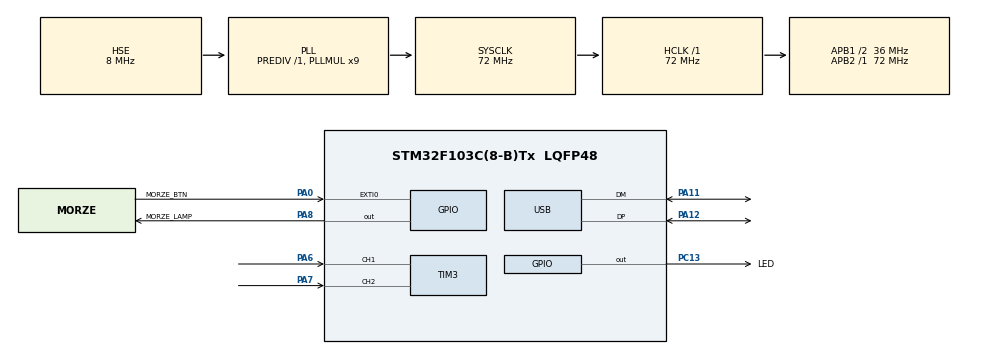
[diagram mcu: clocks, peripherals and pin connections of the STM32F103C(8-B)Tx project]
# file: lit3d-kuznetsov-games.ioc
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Mcu.Family=STM32F1
Mcu.Name=STM32F103C(8-B)Tx
Mcu.Package=LQFP48
NVIC.EXTI0_IRQn=true\:0\:0\:false\:false\:true\:true\:true\:true
NVIC.PriorityGroup=NVIC_PRIORITYGROUP_4
NVIC.TIM2_IRQn=true\:0\:0\:false\:false\:true\:true\:true\:true
NVIC.TIM3_IRQn=true\:0\:0\:false\:false\:true\:true\:true\:true
NVIC.USB_LP_CAN1_RX0_IRQn=true\:0\:0\:false\:false\:true\:false\:true\:true
PA0-WKUP.GPIO_Label=MORZE_BTN
PA0-WKUP.GPIO_ModeDefaultEXTI=GPIO_MODE_IT_RISING_FALLING
PA0-WKUP.GPIO_PuPd=GPIO_PULLUP
PA0-WKUP.Signal=GPXTI0
PA11.Mode=Device
PA11.Signal=USB_DM
PA12.Mode=Device
PA12.Signal=USB_DP
PA13.Mode=Serial_Wire
PA13.Signal=SYS_JTMS-SWDIO
PA14.Mode=Serial_Wire
PA14.Signal=SYS_JTCK-SWCLK
PA6.GPIO_PuPd=GPIO_PULLUP
PA6.Signal=S_TIM3_CH1
PA7.GPIO_PuPd=GPIO_PULLUP
PA7.Signal=S_TIM3_CH2
PA8.GPIO_Label=MORZE_LAMP
PA8.GPIO_ModeDefaultOutputPP=GPIO_MODE_OUTPUT_PP
PA8.GPIO_PuPd=GPIO_PULLDOWN
PA8.GPIO_Speed=GPIO_SPEED_FREQ_MEDIUM
PA8.PinState=GPIO_PIN_RESET
PA8.Signal=GPIO_Output
PC13-TAMPER-RTC.GPIO_Label=LED
PC13-TAMPER-RTC.GPIO_ModeDefaultOutputPP=GPIO_MODE_OUTPUT_PP
PC13-TAMPER-RTC.GPIO_PuPd=GPIO_PULLUP
PC13-TAMPER-RTC.GPIO_Speed=GPIO_SPEED_FREQ_MEDIUM
PC13-TAMPER-RTC.PinState=GPIO_PIN_SET
PC13-TAMPER-RTC.Signal=GPIO_Output
PC14-OSC32_IN.Mode=LSE-External-Oscillator
PC14-OSC32_IN.Signal=RCC_OSC32_IN
PC15-OSC32_OUT.Mode=LSE-External-Oscillator
PC15-OSC32_OUT.Signal=RCC_OSC32_OUT
PD0-OSC_IN.Mode=HSE-External-Oscillator
PD0-OSC_IN.Signal=RCC_OSC_IN
PD1-OSC_OUT.Mode=HSE-External-Oscillator
PD1-OSC_OUT.Signal=RCC_OSC_OUT
ProjectManager.HeapSize=0x200
ProjectManager.StackSize=0x400
ProjectManager.TargetToolchain=Makefile
RCC.AHBFreq_Value=72000000
RCC.APB1CLKDivider=RCC_HCLK_DIV2
RCC.APB1Freq_Value=36000000
RCC.APB1TimFreq_Value=72000000
RCC.APB2Freq_Value=72000000
RCC.APB2TimFreq_Value=72000000
RCC.HCLKFreq_Value=72000000
RCC.PLLMUL=RCC_PLL_MUL9
RCC.SYSCLKFreq_VALUE=72000000
RCC.SYSCLKSource=RCC_SYSCLKSOURCE_PLLCLK
RCC.USBFreq_Value=48000000
RCC.USBPrescaler=RCC_USBCLKSOURCE_PLL_DIV1_5
SH.S_TIM3_CH1.0=TIM3_CH1,Encoder_Interface
SH.S_TIM3_CH2.0=TIM3_CH2,Encoder_Interface
TIM2.Period=20
TIM2.Prescaler=47999
TIM2.TIM_MasterOutputTrigger=TIM_TRGO_RESET
TIM3.EncoderMode=TIM_ENCODERMODE_TI12
TIM3.IC1Polarity=TIM_ICPOLARITY_FALLING
TIM3.IC2Polarity=TIM_ICPOLARITY_FALLING
USB_DEVICE.CLASS_NAME_FS=CUSTOM_HID
USB_DEVICE.MANUFACTURER_STRING=Lit3D
USB_DEVICE.PRODUCT_STRING_CUSTOMHID_FS=Kuznetsov-Games
USB_DEVICE.USBD_CUSTOM_HID_REPORT_DESC_SIZE=18
USB_DEVICE.VirtualMode=CustomHid
USB_DEVICE.VirtualModeFS=Custom_Hid_FS
VP_TIM2_VS_ClockSourceINT.Mode=Internal
VP_USB_DEVICE_VS_USB_DEVICE_CUSTOM_HID_FS.Mode=CUSTOM_HID_FS
board=custom

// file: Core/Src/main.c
/* USER CODE BEGIN Header */
/**
  ******************************************************************************
  * @file           : main.c
  * @brief          : Main program body
  ******************************************************************************
  * @attention
  *
  * Copyright (c) 2023 STMicroelectronics.
  * All rights reserved.
  *
  * This software is licensed under terms that can be found in the LICENSE file
  * in the root directory of this software component.
  * If no LICENSE file comes with this software, it is provided AS-IS.
  *
  ******************************************************************************
  */
/* USER CODE END Header */
#include "main.h"
#include "usb_device.h"

/* USER CODE BEGIN Includes */
#include "usbd_customhid.h"
#include <stdint.h>
/* USER CODE END Includes */

TIM_HandleTypeDef htim2;
TIM_HandleTypeDef htim3;

/* USER CODE BEGIN PV */
extern USBD_HandleTypeDef hUsbDeviceFS;
uint8_t dataToSend[6];

uint8_t morzeBtn_state = 0;

uint16_t encoder_cnt = 0;
int32_t encoder_prev = 0;
/* USER CODE END PV */

void SystemClock_Config(void);
static void MX_GPIO_Init(void);
static void MX_TIM3_Init(void);
static void MX_TIM2_Init(void);

int main(void)
{

  /* MCU Configuration--------------------------------------------------------*/

  /* Reset of all peripherals, Initializes the Flash interface and the Systick. */
  HAL_Init();

  /* Configure the system clock */
  SystemClock_Config();

  /* Initialize all configured peripherals */
  MX_GPIO_Init();
  MX_TIM3_Init();
  MX_USB_DEVICE_Init();
  MX_TIM2_Init();
  /* USER CODE BEGIN 2 */
  HAL_TIM_Base_Start_IT(&htim2);
  HAL_TIM_Encoder_Start_IT(&htim3, TIM_CHANNEL_ALL);
  /* USER CODE END 2 */

  /* Infinite loop */
  while (1)
  {

  }
}

void SystemClock_Config(void)
{
  RCC_OscInitTypeDef RCC_OscInitStruct = {0};
  RCC_ClkInitTypeDef RCC_ClkInitStruct = {0};
  RCC_PeriphCLKInitTypeDef PeriphClkInit = {0};

  /** Initializes the RCC Oscillators according to the specified parameters
  * in the RCC_OscInitTypeDef structure.
  */
  RCC_OscInitStruct.OscillatorType = RCC_OSCILLATORTYPE_HSE;
  RCC_OscInitStruct.HSEState = RCC_HSE_ON;
  RCC_OscInitStruct.HSEPredivValue = RCC_HSE_PREDIV_DIV1;
  RCC_OscInitStruct.HSIState = RCC_HSI_ON;
  RCC_OscInitStruct.PLL.PLLState = RCC_PLL_ON;
  RCC_OscInitStruct.PLL.PLLSource = RCC_PLLSOURCE_HSE;
  RCC_OscInitStruct.PLL.PLLMUL = RCC_PLL_MUL9;
  if (HAL_RCC_OscConfig(&RCC_OscInitStruct) != HAL_OK)
  {
    Error_Handler();
  }

  /** Initializes the CPU, AHB and APB buses clocks
  */
  RCC_ClkInitStruct.ClockType = RCC_CLOCKTYPE_HCLK|RCC_CLOCKTYPE_SYSCLK
                              |RCC_CLOCKTYPE_PCLK1|RCC_CLOCKTYPE_PCLK2;
  RCC_ClkInitStruct.SYSCLKSource = RCC_SYSCLKSOURCE_PLLCLK;
  RCC_ClkInitStruct.AHBCLKDivider = RCC_SYSCLK_DIV1;
  RCC_ClkInitStruct.APB1CLKDivider = RCC_HCLK_DIV2;
  RCC_ClkInitStruct.APB2CLKDivider = RCC_HCLK_DIV1;

  if (HAL_RCC_ClockConfig(&RCC_ClkInitStruct, FLASH_LATENCY_2) != HAL_OK)
  {
    Error_Handler();
  }
  PeriphClkInit.PeriphClockSelection = RCC_PERIPHCLK_USB;
  PeriphClkInit.UsbClockSelection = RCC_USBCLKSOURCE_PLL_DIV1_5;
  if (HAL_RCCEx_PeriphCLKConfig(&PeriphClkInit) != HAL_OK)
  {
    Error_Handler();
  }
}

static void MX_TIM2_Init(void)
{

  TIM_ClockConfigTypeDef sClockSourceConfig = {0};
  TIM_MasterConfigTypeDef sMasterConfig = {0};

  htim2.Instance = TIM2;
  htim2.Init.Prescaler = 47999;
  htim2.Init.CounterMode = TIM_COUNTERMODE_UP;
  htim2.Init.Period = 20;
  htim2.Init.ClockDivision = TIM_CLOCKDIVISION_DIV1;
  htim2.Init.AutoReloadPreload = TIM_AUTORELOAD_PRELOAD_DISABLE;
  if (HAL_TIM_Base_Init(&htim2) != HAL_OK)
  {
    Error_Handler();
  }
  sClockSourceConfig.ClockSource = TIM_CLOCKSOURCE_INTERNAL;
  if (HAL_TIM_ConfigClockSource(&htim2, &sClockSourceConfig) != HAL_OK)
  {
    Error_Handler();
  }
  sMasterConfig.MasterOutputTrigger = TIM_TRGO_RESET;
  sMasterConfig.MasterSlaveMode = TIM_MASTERSLAVEMODE_DISABLE;
  if (HAL_TIMEx_MasterConfigSynchronization(&htim2, &sMasterConfig) != HAL_OK)
  {
    Error_Handler();
  }

}

static void MX_TIM3_Init(void)
{

  TIM_Encoder_InitTypeDef sConfig = {0};
  TIM_MasterConfigTypeDef sMasterConfig = {0};

  htim3.Instance = TIM3;
  htim3.Init.Prescaler = 0;
  htim3.Init.CounterMode = TIM_COUNTERMODE_UP;
  htim3.Init.Period = 65535;
  htim3.Init.ClockDivision = TIM_CLOCKDIVISION_DIV1;
  htim3.Init.AutoReloadPreload = TIM_AUTORELOAD_PRELOAD_DISABLE;
  sConfig.EncoderMode = TIM_ENCODERMODE_TI12;
  sConfig.IC1Polarity = TIM_ICPOLARITY_FALLING;
  sConfig.IC1Selection = TIM_ICSELECTION_DIRECTTI;
  sConfig.IC1Prescaler = TIM_ICPSC_DIV1;
  sConfig.IC1Filter = 0;
  sConfig.IC2Polarity = TIM_ICPOLARITY_FALLING;
  sConfig.IC2Selection = TIM_ICSELECTION_DIRECTTI;
  sConfig.IC2Prescaler = TIM_ICPSC_DIV1;
  sConfig.IC2Filter = 0;
  if (HAL_TIM_Encoder_Init(&htim3, &sConfig) != HAL_OK)
  {
    Error_Handler();
  }
  sMasterConfig.MasterOutputTrigger = TIM_TRGO_RESET;
  sMasterConfig.MasterSlaveMode = TIM_MASTERSLAVEMODE_DISABLE;
  if (HAL_TIMEx_MasterConfigSynchronization(&htim3, &sMasterConfig) != HAL_OK)
  {
    Error_Handler();
  }

}

static void MX_GPIO_Init(void)
{
  GPIO_InitTypeDef GPIO_InitStruct = {0};

  /* GPIO Ports Clock Enable */
  __HAL_RCC_GPIOC_CLK_ENABLE();
  __HAL_RCC_GPIOD_CLK_ENABLE();
  __HAL_RCC_GPIOA_CLK_ENABLE();

  /*Configure GPIO pin Output Level */
  HAL_GPIO_WritePin(LED_GPIO_Port, LED_Pin, GPIO_PIN_SET);

  /*Configure GPIO pin Output Level */
  HAL_GPIO_WritePin(MORZE_LAMP_GPIO_Port, MORZE_LAMP_Pin, GPIO_PIN_RESET);

  /*Configure GPIO pin : LED_Pin */
  GPIO_InitStruct.Pin = LED_Pin;
  GPIO_InitStruct.Mode = GPIO_MODE_OUTPUT_PP;
  GPIO_InitStruct.Pull = GPIO_PULLUP;
  GPIO_InitStruct.Speed = GPIO_SPEED_FREQ_MEDIUM;
  HAL_GPIO_Init(LED_GPIO_Port, &GPIO_InitStruct);

  /*Configure GPIO pin : MORZE_BTN_Pin */
  GPIO_InitStruct.Pin = MORZE_BTN_Pin;
  GPIO_InitStruct.Mode = GPIO_MODE_IT_RISING_FALLING;
  GPIO_InitStruct.Pull = GPIO_PULLUP;
  HAL_GPIO_Init(MORZE_BTN_GPIO_Port, &GPIO_InitStruct);

  /*Configure GPIO pin : MORZE_LAMP_Pin */
  GPIO_InitStruct.Pin = MORZE_LAMP_Pin;
  GPIO_InitStruct.Mode = GPIO_MODE_OUTPUT_PP;
  GPIO_InitStruct.Pull = GPIO_PULLDOWN;
  GPIO_InitStruct.Speed = GPIO_SPEED_FREQ_MEDIUM;
  HAL_GPIO_Init(MORZE_LAMP_GPIO_Port, &GPIO_InitStruct);

  /* EXTI interrupt init*/
  HAL_NVIC_SetPriority(EXTI0_IRQn, 0, 0);
  HAL_NVIC_EnableIRQ(EXTI0_IRQn);

}

/* USER CODE BEGIN 4 */
#define ONE_PERIOD 65536
#define HALF_PERIOD 32768

int32_t unwrap_encoder_diff(uint16_t in, int32_t * prev)
{
  int32_t c32 = (int32_t)in - HALF_PERIOD;    //remove half period to determine (+/-) sign of the wrap
  int32_t diff = (c32-*prev);  //core concept: prev + (current - prev) = current

  //wrap difference from -HALF_PERIOD to HALF_PERIOD. modulo prevents differences after the wrap from having an incorrect result
  int32_t mod_diff = ((diff + HALF_PERIOD) % ONE_PERIOD) - HALF_PERIOD;
  if(diff < -HALF_PERIOD)
      mod_diff += ONE_PERIOD;  //account for mod of negative number behavior in C

  *prev = *prev + mod_diff;

  return mod_diff;
}

void HAL_TIM_PeriodElapsedCallback(TIM_HandleTypeDef *htim2) {
  //__HAL_TIM_SET_COUNTER(&htim3, 0)
  // uint16_t in = __HAL_TIM_GET_COUNTER(&htim3);
  int32_t diff = unwrap_encoder_diff(encoder_cnt, &encoder_prev);

  dataToSend[0] = 1;
  dataToSend[1] = morzeBtn_state;
  dataToSend[2] = (diff >> 24) & 0xFF;
  dataToSend[3] = (diff >> 16) & 0xFF;
  dataToSend[4] = (diff >> 8) & 0xFF;
  dataToSend[5] = diff & 0xFF;
  USBD_CUSTOM_HID_SendReport(&hUsbDeviceFS, dataToSend, 6);
}

void HAL_GPIO_EXTI_Callback(uint16_t GPIO_Pin) {
  if (GPIO_Pin == MORZE_BTN_Pin) {
    if (HAL_GPIO_ReadPin(MORZE_BTN_GPIO_Port, MORZE_BTN_Pin) == GPIO_PIN_RESET) {
      HAL_GPIO_WritePin(GPIOC, LED_Pin, GPIO_PIN_RESET);
      morzeBtn_state = 1;
    } else {
      HAL_GPIO_WritePin(GPIOC, LED_Pin, GPIO_PIN_SET);
      morzeBtn_state = 0;
    }
  } else {
    __NOP();
  }
}

void HAL_TIM_IC_CaptureCallback(TIM_HandleTypeDef *htim3) {
  encoder_cnt = __HAL_TIM_GET_COUNTER(htim3);
}
/* USER CODE END 4 */

void Error_Handler(void)
{
  __disable_irq();
  while (1)
  {
  }
}
